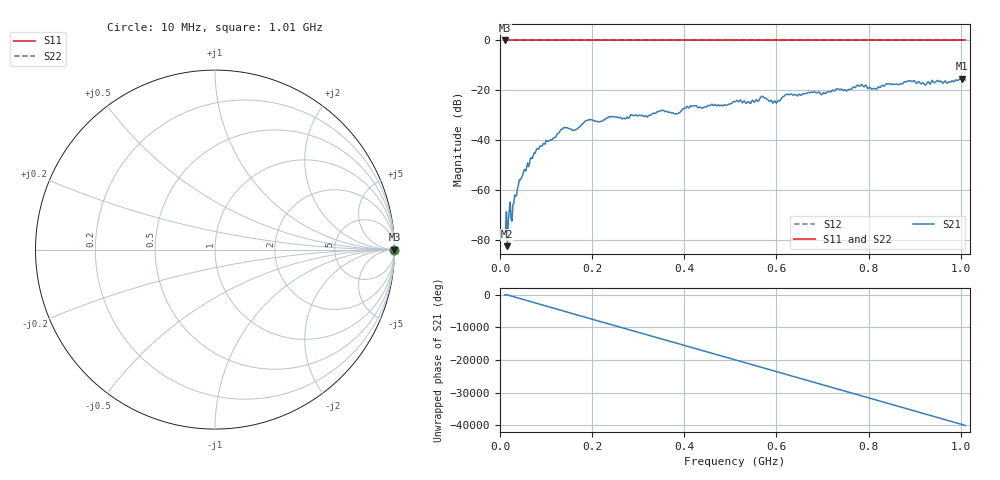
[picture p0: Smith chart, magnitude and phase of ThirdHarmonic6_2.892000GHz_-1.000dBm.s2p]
! 8/17/2025 7:58:01 AM
! C:\ANRITSUVNA\TEMP\TEMP.S2P
! CHANNEL.1
! TR.MEASUREMENT
! RAW.DATA
! RF.CORRECTION.OFF
! AVERAGING.OFF
! IF.BANDWIDTH: 5KHZ
! SWEEPTYPE:  FREQ.SWEEP(Linear)
! Reference Plane Port Info
! PORT:  PORT1  PORT2
! DISTANCE:  0  m  0  m
! TIME:  0  s  0  s
! PHASE.OFFSET:  0  deg.  0  deg.
! LOSS:  0  dB  0  dB
! REF.LOSS:  0  dB  0  dB
! REF.FREQ:  0  Hz  0  Hz
! Power Info
! POWER:  -20  dBm  -20  dBm
! EFF.POWER:  -20  dBm  -20  dBm
! SOURCE.ATTEN:  0  dB  0  dB
! TEST.ATTEN:  0  dB  0  dB
# GHZ S RI R 50.0
! FREQ.GHZ  S11RE  S11IM  S21RE  S21IM  S12RE  S12IM  S22RE  S22IM
!; PortSelection: Port_12
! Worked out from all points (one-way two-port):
!   501 points, 10 MHz to 1.01 GHz, reference 50 ohm
!   highest |S21| = -15.32 dB at 1.002 GHz (marker M1); lowest = -82.5 dB at 16 MHz (marker M2)
!   lowest |S11| = 0.0 dB at 10 MHz (marker M3)
!   |S11| at or under -10 dB: nowhere
!   |S22| runs from 0.0 to 0.0 dB; largest |S21 - S12| = 1.2
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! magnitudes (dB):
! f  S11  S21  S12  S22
! 10 MHz  0.0  -77.4  0.0  0.0
! 16 MHz  0.0  -82.5  0.0  0.0
! 18 MHz  0.0  -72.5  0.0  0.0
! 28 MHz  0.0  -65.9  0.0  0.0
! 44 MHz  0.0  -56.0  0.0  0.0
! 78 MHz  0.0  -44.3  0.0  0.0
! 136 MHz  0.0  -35.5  0.0  0.0
! 162 MHz  0.0  -36.0  0.0  0.0
! 178 MHz  0.0  -33.6  0.0  0.0
! 344 MHz  0.0  -28.6  0.0  0.0
! 382 MHz  0.0  -29.5  0.0  0.0
! 418 MHz  0.0  -26.5  0.0  0.0
! 510 MHz  0.0  -24.6  0.0  0.0
! 540 MHz  0.0  -24.6  0.0  0.0
! 570 MHz  0.0  -22.4  0.0  0.0
! 596 MHz  0.0  -24.2  0.0  0.0
! 622 MHz  0.0  -21.6  0.0  0.0
! 678 MHz  0.0  -20.9  0.0  0.0
! 814 MHz  0.0  -19.3  0.0  0.0
! 844 MHz  0.0  -17.5  0.0  0.0
! 1.002 GHz  0.0  -15.3  0.0  0.0
! 1.01 GHz  0.0  -15.8  0.0  0.0
